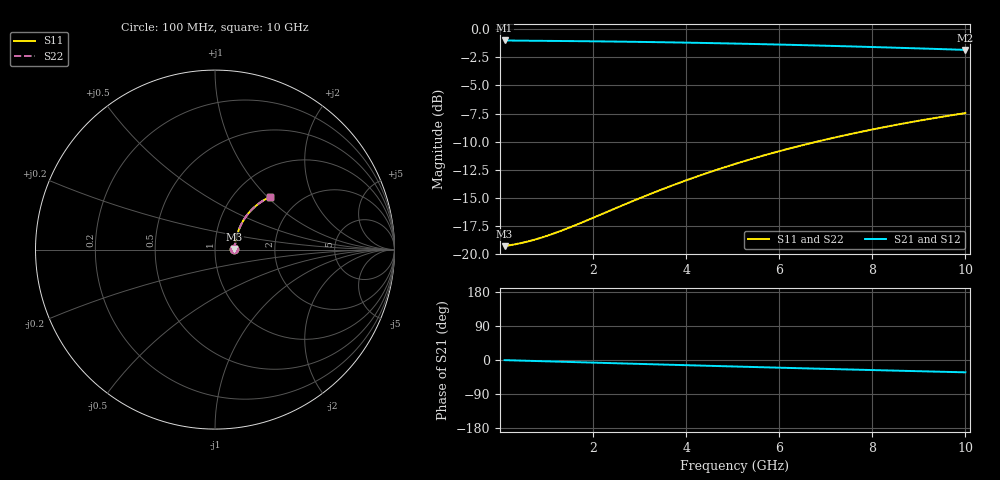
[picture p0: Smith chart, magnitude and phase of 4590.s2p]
# Hz S RI R 50.00
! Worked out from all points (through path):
!   100 points, 100 MHz to 10 GHz, reference 50 ohm
!   highest |S21| = -1.00 dB at 100 MHz (marker M1); lowest = -1.8 dB at 10 GHz (marker M2)
!   group delay of S21, straight-line fit = 9.06 ps
!   lowest |S11| = -19.3 dB at 100 MHz (marker M3), VSWR 1.24, Z = 62.1 + j0.502 ohm
!   |S11| at or under -10 dB: start of sweep to 6.813 GHz
!   |S22| runs from -19.3 to -7.5 dB; largest |S21 - S12| = 0
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1e8  0.1083 0.00399  0.8917 -0.00541  0.8917 -0.00541  0.1083 0.00399
5e8  0.1106 0.0199  0.8894 -0.0269  0.8894 -0.0269  0.1106 0.0199
7e8  0.1117 0.0277  0.8882 -0.0376  0.8882 -0.0376  0.1117 0.0277
9e8  0.1129 0.0356  0.887 -0.0483  0.887 -0.0483  0.1129 0.0356
1.1e9  0.1142 0.0434  0.8856 -0.0589  0.8856 -0.0589  0.1142 0.0434
1.3e9  0.1157 0.0512  0.8841 -0.0695  0.8841 -0.0695  0.1157 0.0512
1.8e9  0.12 0.0704  0.8796 -0.0958  0.8796 -0.0958  0.12 0.0704
2.8e9  0.1317 0.1077  0.8674 -0.1473  0.8674 -0.1473  0.1317 0.1077
3.4e9  0.1406 0.1291  0.8581 -0.1772  0.8581 -0.1772  0.1406 0.1291
3.8e9  0.1474 0.143  0.8511 -0.1967  0.8511 -0.1967  0.1474 0.143
4.2e9  0.1547 0.1564  0.8434 -0.2158  0.8434 -0.2158  0.1547 0.1564
4.6e9  0.1625 0.1694  0.8352 -0.2345  0.8352 -0.2345  0.1625 0.1694
5.1e9  0.1731 0.1849  0.8241 -0.2572  0.8241 -0.2572  0.1731 0.1849
5.5e9  0.1821 0.1968  0.8146 -0.2748  0.8146 -0.2748  0.1821 0.1968
5.9e9  0.1916 0.2082  0.8047 -0.2919  0.8047 -0.2919  0.1916 0.2082
6.3e9  0.2015 0.2191  0.7943 -0.3084  0.7943 -0.3084  0.2015 0.2191
6.7e9  0.2117 0.2293  0.7834 -0.3245  0.7834 -0.3245  0.2117 0.2293
7.5e9  0.2333 0.2483  0.7607 -0.3548  0.7607 -0.3548  0.2333 0.2483
7.9e9  0.2445 0.2569  0.7488 -0.3692  0.7488 -0.3692  0.2445 0.2569
8.4e9  0.2588 0.2668  0.7336 -0.3863  0.7336 -0.3863  0.2588 0.2668
9.2e9  0.2824 0.2808  0.7085 -0.4119  0.7085 -0.4119  0.2824 0.2808
1e10  0.3065 0.2925  0.6827 -0.4353  0.6827 -0.4353  0.3065 0.2925
